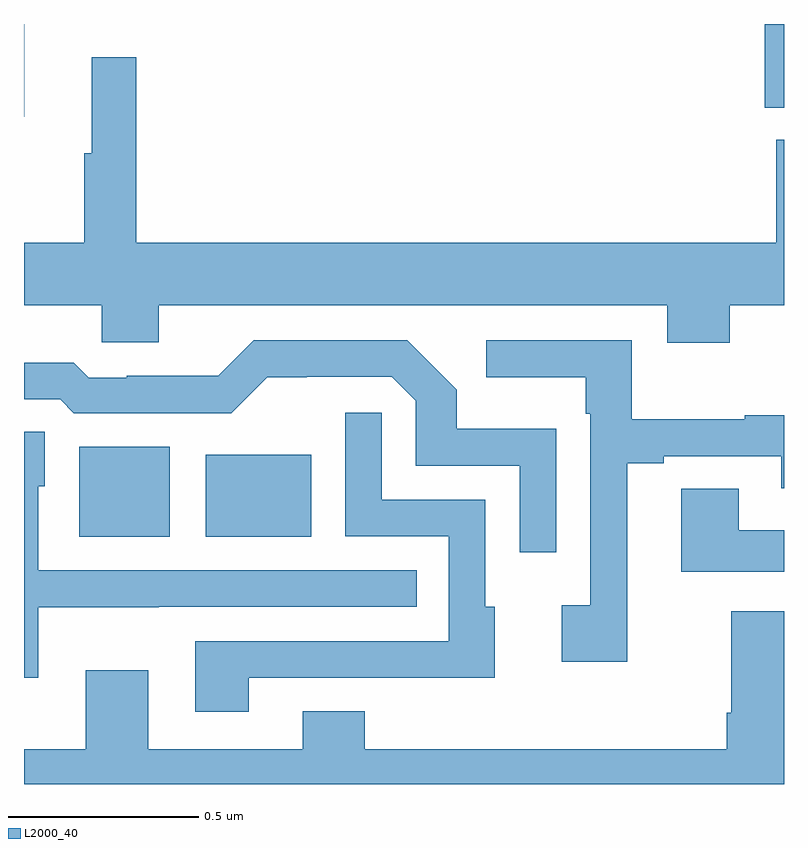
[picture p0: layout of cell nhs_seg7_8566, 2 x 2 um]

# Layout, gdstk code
import gdstk
lib = gdstk.Library(unit=1e-6, precision=1e-09)
def R(c, l, rs):  # rectangles x0, y0, x1, y1
    for r in rs: c.add(gdstk.rectangle(r[:2], r[2:], *l))
def P(c, l, *ps):  # polygons
    for p in ps: c.add(gdstk.Polygon(p, *l))
L2000_40 = (2000, 40)

nhs_seg7_8566 = lib.new_cell('nhs_seg7_8566')
R(nhs_seg7_8566, L2000_40, [(226.145,1022.651,226.384,1022.887), (226.478,1022.651,226.756,1022.866), (226,1023.756,226.001,1024), (227.949,1023.78,228,1024)])
P(nhs_seg7_8566, L2000_40, [(227.857,1023.26),(228,1023.26),(228,1023.695),(227.979,1023.695),(227.979,1023.424),(226.295,1023.424),(226.295,1023.913),(226.178,1023.913),(226.178,1023.66),(226.159,1023.66),(226.159,1023.424),(226,1023.424),(226,1023.26),(226.204,1023.26),(226.204,1023.162),(226.354,1023.162),(226.354,1023.26),(227.693,1023.26),(227.693,1023.161),(227.857,1023.161)],
  [(227.4,1022.935),(227.139,1022.935),(227.139,1023.038),(227.008,1023.168),(226.605,1023.168),(226.511,1023.074),(226.27,1023.074),(226.27,1023.069),(226.17,1023.069),(226.131,1023.109),(226,1023.109),(226,1023.012),(226.095,1023.012),(226.131,1022.976),(226.545,1022.976),(226.64,1023.071),(226.744,1023.071),(226.744,1023.072),(226.968,1023.072),(227.031,1023.009),(227.031,1022.838),(227.304,1022.838),(227.304,1022.61),(227.4,1022.61)],
  [(227.587,1022.844),(227.683,1022.844),(227.683,1022.862),(227.993,1022.862),(227.993,1022.778),(228,1022.778),(228,1022.971),(227.897,1022.971),(227.897,1022.96),(227.599,1022.96),(227.599,1023.168),(227.217,1023.168),(227.217,1023.071),(227.478,1023.071),(227.478,1022.975),(227.49,1022.975),(227.49,1022.47),(227.415,1022.47),(227.415,1022.322),(227.587,1022.322)],
  [(226.591,1022.28),(227.021,1022.28),(227.021,1022.279),(227.239,1022.279),(227.239,1022.466),(227.214,1022.466),(227.214,1022.748),(226.941,1022.748),(226.941,1022.977),(226.845,1022.977),(226.845,1022.652),(227.118,1022.652),(227.118,1022.376),(226.451,1022.376),(226.451,1022.19),(226.591,1022.19)],
  [(226.038,1022.465),(226.355,1022.465),(226.355,1022.466),(227.033,1022.466),(227.033,1022.562),(226.038,1022.562),(226.038,1022.784),(226.054,1022.784),(226.054,1022.927),(226,1022.927),(226,1022.28),(226.038,1022.28)],
  [(228,1022.668),(227.881,1022.668),(227.881,1022.777),(227.729,1022.777),(227.729,1022.558),(228,1022.558)],
  [(228,1022.455),(227.861,1022.455),(227.861,1022.188),(227.849,1022.188),(227.849,1022.092),(226.897,1022.092),(226.897,1022.191),(226.733,1022.191),(226.733,1022.092),(226.327,1022.092),(226.327,1022.299),(226.163,1022.299),(226.163,1022.092),(226,1022.092),(226,1022),(228,1022)])

lib.write_gds('nhs_seg7_8566.gds')
